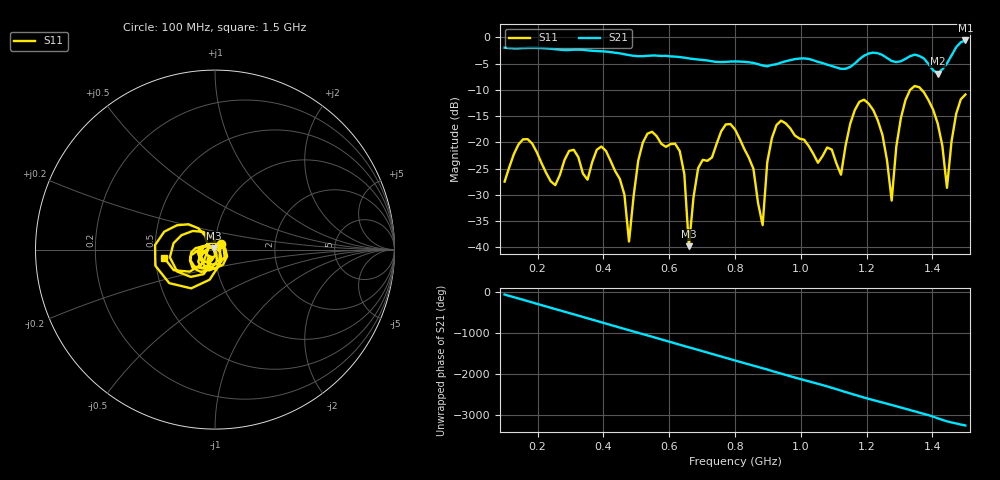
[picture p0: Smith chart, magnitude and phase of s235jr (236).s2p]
! NanoVNA-App
! Date: 2025-09-25 15:06:00
! Start: 100MHz Stop: 1,5GHz Points: 101
! S-Parameter data: F S11 S21 S12 S22
# Hz S RI R 50
!  Frequency  S11_Real  S11_Imag  S21_Real  S21_Imag  S12_Real  S12_Imag  S22_Real  S22_Imag
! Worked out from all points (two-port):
!   101 points, 100 MHz to 1.5 GHz, reference 50 ohm
!   highest |S21| = -0.59 dB at 1.5 GHz (marker M1); lowest = -6.9 dB at 1.416 GHz (marker M2)
!   |S21| within 3 dB of the highest: start of sweep to 599.7 MHz; 1.19 GHz to 1.254 GHz (63.44 MHz wide, 5.19 % of centre)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
!   lowest |S11| = -39.8 dB at 660 MHz (marker M3), VSWR 1.02, Z = 49.2 + j0.631 ohm
!   |S11| at or under -10 dB: start of sweep to 1.332 GHz; 1.367 GHz to end of sweep
!   S12 and S22 are empty: the file has one direction only
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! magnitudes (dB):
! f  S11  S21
! 100 MHz  -27.5  -2.0
! 156 MHz  -19.4  -2.0
! 338 MHz  -25.9  -2.4
! 408 MHz  -21.6  -2.7
! 478 MHz  -38.9  -3.4
! 520 MHz  -20.0  -3.6
! 576 MHz  -20.3  -3.5
! 632 MHz  -21.6  -3.7
! 660 MHz  -39.8  -4.0
! 688 MHz  -24.9  -4.2
! 800 MHz  -17.5  -4.6
! 884 MHz  -35.8  -5.4
! 926 MHz  -16.7  -5.1
! 1.038 GHz  -22.2  -4.4
! 1.122 GHz  -26.1  -6.0
! 1.192 GHz  -11.9  -3.5
! 1.248 GHz  -18.6  -3.4
! 1.276 GHz  -31.1  -4.5
! 1.332 GHz  -10.0  -3.6
! 1.416 GHz  -16.4  -6.9
! 1.444 GHz  -28.7  -5.0
! 1.5 GHz  -10.9  -0.6
